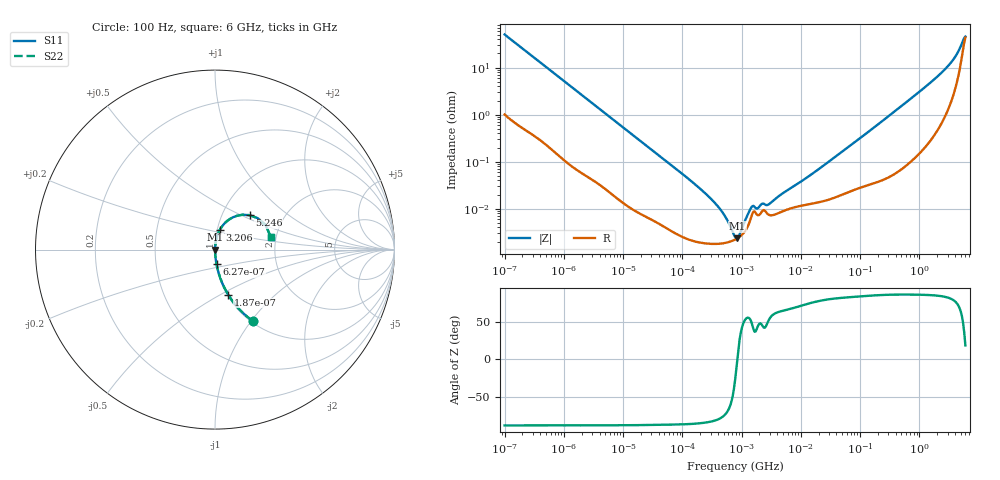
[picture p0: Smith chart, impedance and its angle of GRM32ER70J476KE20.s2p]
!Murata Part Number: GRM32ER70J476KE20
!These Parameters are Measured in Series Mode Connection
!Data Generated on Mar 30, 2021
!  o--ll--o
!Port1  Port2
!  o------o
!Operation Temp=25[degC], DC Bias Voltage=0[V]
!Freq. Start=100[Hz] Stop=6[GHz] 401[Steps]
# Hz S RI R 50
!Freq.(Hz) S11(Real) S11(Imag) S21(Real) S21(Imag) S12(Real) S12(Imag) S22(Real) S22(Imag)
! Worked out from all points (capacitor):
!   401 points, 100 Hz to 6 GHz, reference 50 ohm
!   read as one part in series: C = 31.3 uF near 109 Hz
!   lowest |Z| = 2.35 mohm at 847.2 kHz (marker M1)
!   series resonance near 845.4 kHz, so ESL is about 1.1 nH
!   S11 on the Smith chart (normalised r, x): 100 Hz: 1.02, -1.01; 187 Hz: 1.01, -0.54; 627 Hz: 1.00, -0.17; 3.206 GHz: 1.03, +0.23; 5.246 GHz: 1.35, +0.56; 6 GHz: 1.87, +0.30
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100  0.2091 -0.3968  0.7909 0.3968  0.7909 0.3968  0.2091 -0.3968
187  0.0734 -0.251  0.9266 0.251  0.9266 0.251  0.0734 -0.251
320  0.0283 -0.1552  0.9717 0.1552  0.9717 0.1552  0.0283 -0.1552
627  0.00856 -0.0819  0.9914 0.0819  0.9914 0.0819  0.00856 -0.0819
2008  0.00125 -0.0261  0.9987 0.0261  0.9987 0.0261  0.00125 -0.0261
40335  4.98e-05 -0.00136  1 0.00136  1 0.00136  4.98e-05 -0.00136
184852  1.95e-05 -0.00029  1 0.00029  1 0.00029  1.95e-05 -0.00029
413847  1.8e-05 -0.000105  1 0.000105  1 0.000105  1.8e-05 -0.000105
473344  1.84e-05 -8.27e-05  1 8.27e-05  1 8.27e-05  1.84e-05 -8.27e-05
774597  2.21e-05 -1.21e-05  1 1.21e-05  1 1.21e-05  2.21e-05 -1.21e-05
847162  2.35e-05 3e-07  1 -3e-07  1 -3e-07  2.35e-05 3e-07
1813585  7.53e-05 6.65e-05  0.9999 -6.65e-05  0.9999 -6.65e-05  7.53e-05 6.65e-05
2268635  9.16e-05 9.14e-05  0.9999 -9.14e-05  0.9999 -9.14e-05  9.16e-05 9.14e-05
2837864  7.53e-05 9.68e-05  0.9999 -9.68e-05  0.9999 -9.68e-05  7.53e-05 9.68e-05
4643984  8.54e-05 0.000182  0.9999 -0.000182  0.9999 -0.000182  8.54e-05 0.000182
1.555665e7  0.000129 0.000537  0.9999 -0.000537  0.9999 -0.000537  0.000129 0.000537
3.124326e8  0.000565 0.00957  0.9994 -0.00957  0.9994 -0.00957  0.000565 0.00957
1.497423e9  0.0048 0.0461  0.9952 -0.0461  0.9952 -0.0461  0.0048 0.0461
3.205649e9  0.027 0.1103  0.973 -0.1103  0.973 -0.1103  0.027 0.1103
4.385646e9  0.0818 0.1699  0.9182 -0.1699  0.9182 -0.1699  0.0818 0.1699
5.245841e9  0.1929 0.1919  0.8071 -0.1919  0.8071 -0.1919  0.1929 0.1919
6e9  0.3099 0.0714  0.6901 -0.0714  0.6901 -0.0714  0.3099 0.0714
